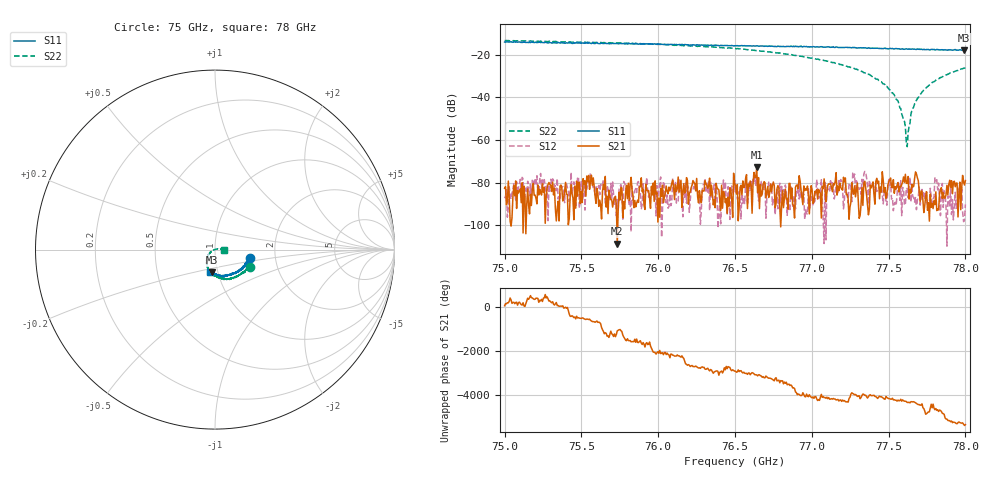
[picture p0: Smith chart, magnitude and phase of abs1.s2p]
# Hz S MA R 50
! CMT, C4420, 21421029, 25.1.2/3
! Date: 8/7/2025 12:41:44 PM
! Data: Format (Calibration Info)
! Freq	S33:Mag/Ang(F2)	S43:Mag/Ang(F2)	S34:Mag/Ang(F2)	S44:Mag/Ang(F2)
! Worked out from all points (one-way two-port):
!   500 points, 75 GHz to 78 GHz, reference 50 ohm
!   highest |S21| = -72.85 dB at 76.641 GHz (marker M1); lowest = -108.7 dB at 75.733 GHz (marker M2)
!   lowest |S11| = -17.9 dB at 77.988 GHz (marker M3), VSWR 1.29, Z = 46.6 - j11.9 ohm
!   |S11| at or under -10 dB: start of sweep to end of sweep
!   |S22| runs from -63.1 to -13.3 dB; largest |S21 - S12| = 0.00022
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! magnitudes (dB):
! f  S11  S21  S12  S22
! 75 GHz  -14.0  -82.6  -87.3  -13.3
! 75.505 GHz  -14.5  -89.3  -89.3  -14.1
! 75.733 GHz  -14.8  -108.7  -87.9  -14.4
! 76.004 GHz  -15.1  -87.2  -83.6  -15.0
! 76.503 GHz  -15.8  -81.6  -84.3  -17.1
! 76.605 GHz  -15.9  -81.4  -79.2  -17.8
! 76.641 GHz  -15.8  -72.8  -76.8  -18.1
! 76.671 GHz  -15.9  -86.3  -79.4  -18.3
! 77.002 GHz  -16.4  -83.5  -86.4  -21.6
! 77.248 GHz  -16.6  -91.5  -80.3  -25.9
! 77.279 GHz  -16.6  -81.5  -75.9  -26.5
! 77.309 GHz  -16.8  -96.8  -83.2  -27.5
! 77.345 GHz  -16.8  -79.3  -74.8  -28.4
! 77.375 GHz  -16.8  -92.5  -78.7  -29.2
! 77.501 GHz  -17.3  -79.6  -78.5  -36.0
! 77.567 GHz  -17.2  -84.3  -81.4  -43.0
! 77.621 GHz  -17.4  -80.3  -82.8  -63.1
! 77.657 GHz  -17.3  -82.1  -86.5  -45.3
! 77.681 GHz  -17.5  -75.9  -92.7  -41.4
! 77.717 GHz  -17.5  -84.1  -83.2  -37.6
! 77.988 GHz  -17.9  -79.7  -98.3  -26.3
! 78 GHz  -17.8  -79.0  -90.3  -26.3
